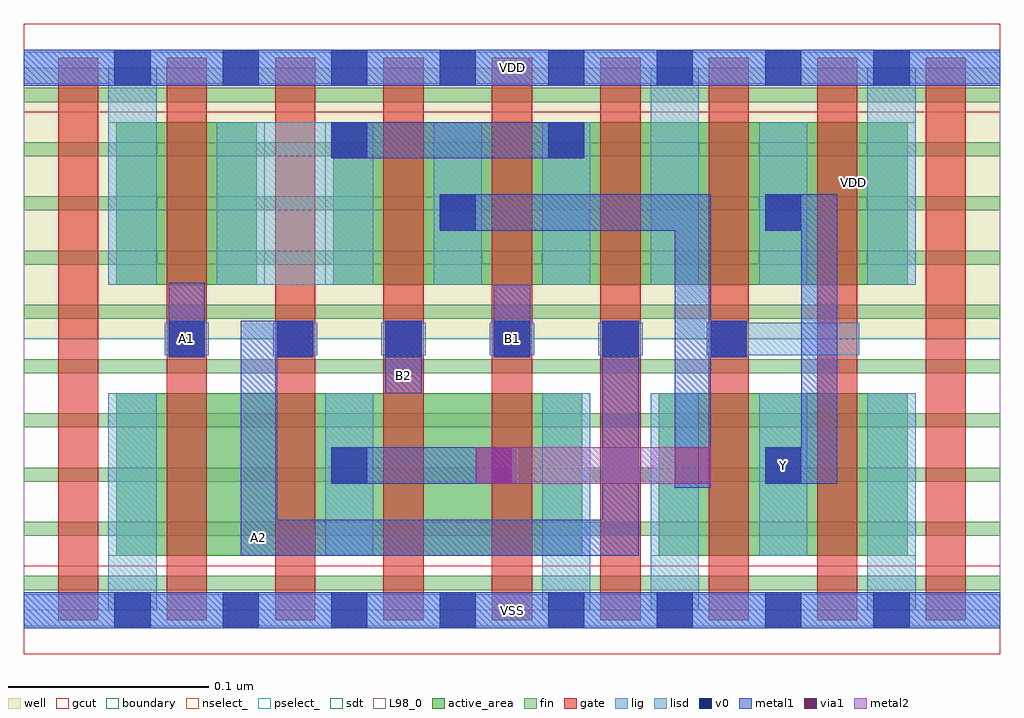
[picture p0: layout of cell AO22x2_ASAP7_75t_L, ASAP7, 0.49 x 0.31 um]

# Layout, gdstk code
import gdstk
lib = gdstk.Library(unit=1e-6, precision=2.5e-10)
def R(c, l, rs):  # rectangles x0, y0, x1, y1
    for r in rs: c.add(gdstk.rectangle(r[:2], r[2:], *l))
def A(c, l, x, y, w, h, nx, ny, dx, dy):  # array of equal rectangles
    R(c, l, [(x+i*dx, y+j*dy, x+i*dx+w, y+j*dy+h) for i in range(nx) for j in range(ny)])
def P(c, l, *ps):  # polygons
    for p in ps: c.add(gdstk.Polygon(p, *l))
well = (1, 0)
fin = (2, 0)
gate = (7, 0)
gcut = (10, 0)
active_area = (11, 0)
nselect_ = (12, 0)
pselect_ = (13, 0)
lig = (16, 0)
lisd = (17, 0)
v0 = (18, 0)
metal1 = (19, 0)
metal2 = (20, 0)
via1 = (21, 0)
sdt = (88, 0)
L98_0 = (98, 0)
boundary = (100, 0)

ao22x2_asap7_75t_l = lib.new_cell('AO22x2_ASAP7_75t_L')
R(ao22x2_asap7_75t_l, well, [(0,0.135,0.486,0.27)])
A(ao22x2_asap7_75t_l, fin, 0, 0.01, 0.486, 0.007, 1, 10, 0, 0.027)
A(ao22x2_asap7_75t_l, gate, 0.017, -0.005, 0.02, 0.28, 9, 1, 0.054, 0)
R(ao22x2_asap7_75t_l, gcut, [(0,-0.022,0.486,0.022), (0,0.248,0.486,0.292)])
R(ao22x2_asap7_75t_l, active_area, [(0.046,0.027,0.278,0.108), (0.316,0.027,0.44,0.108), (0.046,0.162,0.116,0.243), (0.154,0.162,0.44,0.243)])
R(ao22x2_asap7_75t_l, nselect_, [(0,0,0.486,0.135)])
R(ao22x2_asap7_75t_l, pselect_, [(0,0.135,0.486,0.27)])
A(ao22x2_asap7_75t_l, lig, 0.07, 0.127, 0.022, 0.016, 5, 1, 0.054, 0)
R(ao22x2_asap7_75t_l, lig, [(0,-0.008,0.486,0.008), (0.34,0.127,0.416,0.143), (0,0.262,0.486,0.278)])
R(ao22x2_asap7_75t_l, lisd, [(0.042,0,0.066,0.108), (0.258,0,0.282,0.108), (0.312,0,0.336,0.108), (0.42,0,0.444,0.108), (0.15,0.027,0.174,0.108), (0.366,0.027,0.39,0.108), (0.042,0.162,0.066,0.27), (0.096,0.162,0.174,0.243), (0.204,0.162,0.228,0.243), (0.258,0.162,0.282,0.243), (0.312,0.162,0.336,0.27), (0.366,0.162,0.39,0.243), (0.42,0.162,0.444,0.27)])
A(ao22x2_asap7_75t_l, v0, 0.045, -0.009, 0.018, 0.018, 8, 2, 0.054, 0.27)
A(ao22x2_asap7_75t_l, v0, 0.072, 0.126, 0.018, 0.018, 6, 1, 0.054, 0)
R(ao22x2_asap7_75t_l, v0, [(0.153,0.063,0.171,0.081), (0.369,0.063,0.387,0.081), (0.207,0.189,0.225,0.207), (0.369,0.189,0.387,0.207), (0.153,0.225,0.171,0.243), (0.261,0.225,0.279,0.243)])
R(ao22x2_asap7_75t_l, metal1, [(0,-0.009,0.486,0.009), (0.153,0.063,0.245,0.081), (0.18,0.108,0.198,0.144), (0.072,0.126,0.09,0.163), (0.234,0.126,0.252,0.162), (0.153,0.225,0.279,0.243), (0,0.261,0.486,0.279)])
P(ao22x2_asap7_75t_l, metal1, [(0.108,0.027),(0.108,0.144),(0.144,0.144),(0.144,0.126),(0.126,0.126),(0.126,0.045),(0.288,0.045),(0.288,0.144),(0.306,0.144),(0.306,0.027)],
  [(0.369,0.063),(0.369,0.081),(0.387,0.081),(0.387,0.189),(0.369,0.189),(0.369,0.207),(0.405,0.207),(0.405,0.063)],
  [(0.324,0.061),(0.324,0.189),(0.207,0.189),(0.207,0.207),(0.342,0.207),(0.342,0.144),(0.36,0.144),(0.36,0.126),(0.342,0.126),(0.342,0.061)])
R(ao22x2_asap7_75t_l, metal2, [(0.225,0.063,0.342,0.081)])
R(ao22x2_asap7_75t_l, via1, [(0.225,0.063,0.243,0.081), (0.324,0.063,0.342,0.081)])
A(ao22x2_asap7_75t_l, sdt, 0.042, 0.027, 0.024, 0.081, 3, 1, 0.108, 0)
A(ao22x2_asap7_75t_l, sdt, 0.312, 0.027, 0.024, 0.081, 3, 1, 0.054, 0)
A(ao22x2_asap7_75t_l, sdt, 0.042, 0.162, 0.024, 0.081, 8, 1, 0.054, 0)
R(ao22x2_asap7_75t_l, L98_0, [(0,0,0.486,0.27)])
R(ao22x2_asap7_75t_l, boundary, [(0,0,0.486,0.27)])
ao22x2_asap7_75t_l.add(gdstk.Label('Y', (0.378,0.072), layer=19, texttype=251))
ao22x2_asap7_75t_l.add(gdstk.Label('B2', (0.189,0.117), layer=19, texttype=251))
ao22x2_asap7_75t_l.add(gdstk.Label('B1', (0.243,0.135), layer=19, texttype=251))
ao22x2_asap7_75t_l.add(gdstk.Label('A2', (0.117,0.036), layer=19, texttype=251))
ao22x2_asap7_75t_l.add(gdstk.Label('A1', (0.081,0.135), layer=19, texttype=251))
ao22x2_asap7_75t_l.add(gdstk.Label('VSS', (0.243,0), layer=19, texttype=251))
ao22x2_asap7_75t_l.add(gdstk.Label('VDD', (0.243,0.27), layer=19, texttype=251))
ao22x2_asap7_75t_l.add(gdstk.Label('VDD', (0.413,0.213), layer=1, texttype=251))
ao22x2_asap7_75t_l.add(gdstk.Label('VSS', (0.559,0.213), layer=3, texttype=251))

lib.write_gds('AO22x2_ASAP7_75t_L.gds')
